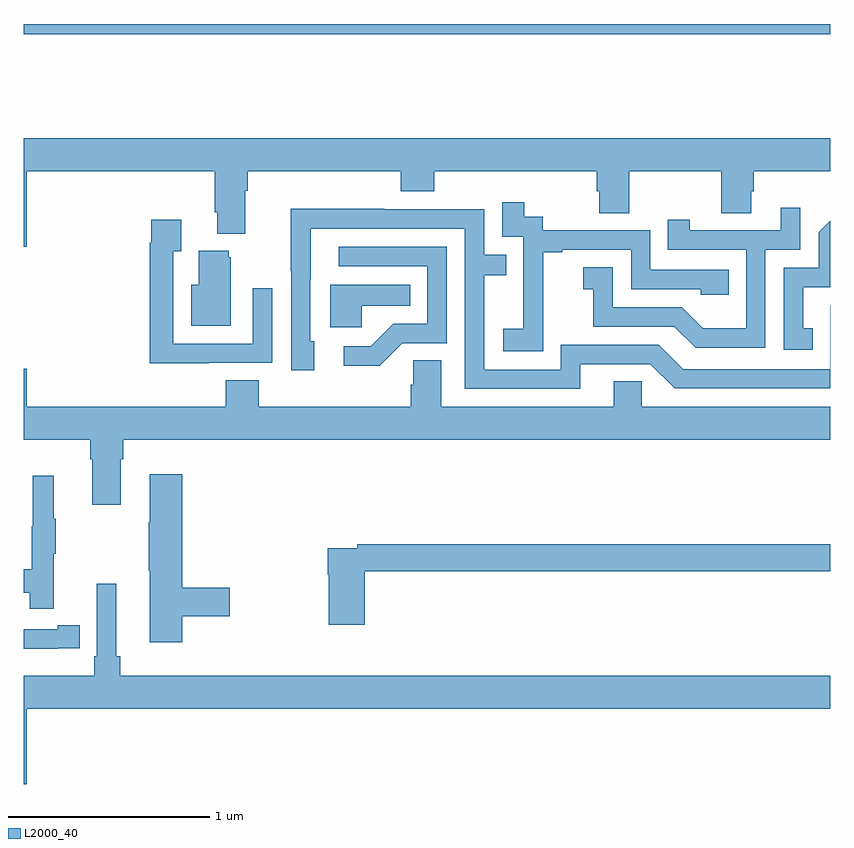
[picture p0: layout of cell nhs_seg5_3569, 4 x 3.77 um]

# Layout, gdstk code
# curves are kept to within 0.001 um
import gdstk
lib = gdstk.Library(unit=1e-6, precision=1e-09)
def R(c, l, rs):  # rectangles x0, y0, x1, y1
    for r in rs: c.add(gdstk.rectangle(r[:2], r[2:], *l))
def P(c, l, *ps):  # polygons
    for p in ps: c.add(gdstk.Polygon(p, *l))
L2000_40 = (2000, 40)

nhs_seg5_3569 = lib.new_cell('nhs_seg5_3569')
R(nhs_seg5_3569, L2000_40, [(321,882.748,325,882.799)])
P(nhs_seg5_3569, L2000_40, [(321.016,882.068),(321.947,882.068),(321.947,881.866),(321.959,881.866),(321.959,881.759),(322.099,881.759),(322.099,881.972),(322.112,881.972),(322.112,882.068),(322.871,882.068),(322.871,881.969),(323.036,881.969),(323.036,882.068),(323.843,882.068),(323.843,881.97),(323.855,881.97),(323.855,881.86),(324.003,881.86),(324.003,882.068),(324.46,882.068),(324.46,881.86),(324.607,881.86),(324.607,881.97),(324.62,881.97),(324.62,882.068),(325,882.068),(325,882.232),(321,882.232),(321,881.694),(321.016,881.694)],
  [(323.577,881.383),(323.576,881.383),(323.576,881.667),(323.671,881.667),(323.671,881.679),(324.012,881.679),(324.012,881.484),(324.357,881.484),(324.357,881.457),(324.497,881.457),(324.497,881.58),(324.108,881.58),(324.108,881.775),(323.574,881.775),(323.574,881.844),(323.482,881.844),(323.482,881.914),(323.373,881.914),(323.373,881.745),(323.478,881.745),(323.478,881.516),(323.477,881.516),(323.477,881.287),(323.379,881.287),(323.379,881.177),(323.577,881.177)],
  [(324.678,881.679),(324.852,881.679),(324.852,881.887),(324.755,881.887),(324.755,881.775),(324.304,881.775),(324.304,881.827),(324.193,881.827),(324.193,881.679),(324.582,881.679),(324.582,881.29),(324.368,881.29),(324.264,881.394),(323.922,881.394),(323.922,881.593),(323.775,881.593),(323.775,881.483),(323.824,881.483),(323.824,881.298),(324.227,881.298),(324.332,881.193),(324.678,881.193)],
  [(323.761,881.112),(324.108,881.112),(324.228,880.992),(325,880.992),(325,881.403),(324.999,881.088),(324.27,881.088),(324.15,881.208),(323.664,881.208),(323.664,881.085),(323.283,881.085),(323.283,881.554),(323.393,881.554),(323.393,881.655),(323.283,881.655),(323.283,881.88),(322.787,881.88),(322.787,881.882),(322.324,881.882),(322.324,881.575),(322.326,881.575),(322.326,881.082),(322.441,881.082),(322.441,881.226),(322.422,881.226),(322.423,881.784),(323.187,881.784),(323.187,880.989),(323.761,880.989)],
  [(321.917,881.118),(322.233,881.118),(322.233,881.488),(322.137,881.488),(322.137,881.214),(321.741,881.214),(321.741,881.671),(321.781,881.671),(321.781,881.827),(321.633,881.827),(321.633,881.714),(321.625,881.714),(321.625,881.117),(321.917,881.117)],
  [(324.914,881.289),(324.865,881.289),(324.865,881.493),(325,881.493),(325,881.824),(324.942,881.766),(324.942,881.589),(324.768,881.589),(324.768,881.184),(324.914,881.184)],
  [(322.878,881.217),(323.097,881.217),(323.097,881.694),(322.563,881.694),(322.563,881.598),(323.001,881.598),(323.001,881.313),(322.832,881.313),(322.721,881.202),(322.587,881.202),(322.587,881.105),(322.765,881.105)],
  [(322.027,881.643),(322.016,881.643),(322.016,881.674),(321.869,881.674),(321.869,881.506),(321.83,881.506),(321.83,881.303),(322.027,881.303)],
  [(322.677,881.402),(322.916,881.402),(322.916,881.506),(322.52,881.506),(322.52,881.294),(322.677,881.294)],
  [(321.481,880.64),(321.494,880.64),(321.494,880.736),(325,880.736),(325,880.9),(324.066,880.9),(324.066,881.027),(323.927,881.027),(323.927,880.9),(323.071,880.9),(323.071,881.132),(322.932,881.132),(322.932,881.009),(322.919,881.009),(322.919,880.9),(322.166,880.9),(322.166,881.033),(322.001,881.033),(322.001,880.9),(321.016,880.9),(321.016,881.089),(321,881.089),(321,880.736),(321.329,880.736),(321.329,880.64),(321.341,880.64),(321.341,880.416),(321.481,880.416)],
  [(321.785,879.862),(322.021,879.862),(322.021,880.004),(321.785,880.004),(321.785,880.567),(321.626,880.567),(321.626,880.328),(321.619,880.328),(321.619,880.087),(321.626,880.087),(321.626,879.732),(321.785,879.732)],
  [(321.149,880.171),(321.16,880.171),(321.16,880.345),(321.149,880.345),(321.149,880.558),(321.046,880.558),(321.046,880.308),(321.039,880.308),(321.039,880.094),(321,880.094),(321,879.978),(321.031,879.978),(321.031,879.9),(321.149,879.9)],
  [(322.691,880.084),(325,880.084),(325,880.22),(322.654,880.22),(322.654,880.2),(322.508,880.2),(322.508,880.067),(322.513,880.067),(322.513,879.819),(322.691,879.819)],
  [(321.016,879.404),(325,879.404),(325,879.568),(321.479,879.568),(321.479,879.664),(321.46,879.664),(321.46,880.024),(321.363,880.024),(321.363,879.664),(321.35,879.664),(321.35,879.568),(321,879.568),(321,879.03),(321.016,879.03)],
  [(321.17,879.702),(321.278,879.702),(321.278,879.818),(321.17,879.818),(321.17,879.798),(321,879.798),(321,879.701),(321.17,879.701)])

lib.write_gds('nhs_seg5_3569.gds')
